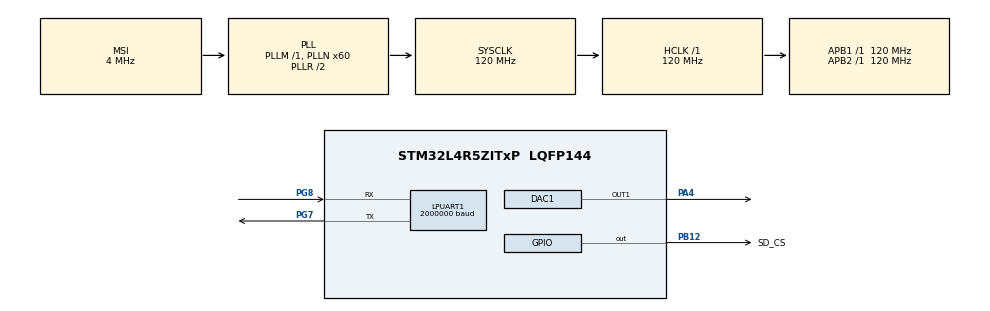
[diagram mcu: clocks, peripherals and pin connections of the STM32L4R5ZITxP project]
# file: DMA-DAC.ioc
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DAC1.DAC_Trigger-DAC_OUT1=DAC_TRIGGER_T2_TRGO
Dma.DAC1_CH1.1.Direction=DMA_MEMORY_TO_PERIPH
Dma.DAC1_CH1.1.EventEnable=DISABLE
Dma.DAC1_CH1.1.Instance=DMA1_Channel2
Dma.DAC1_CH1.1.MemDataAlignment=DMA_MDATAALIGN_BYTE
Dma.DAC1_CH1.1.MemInc=DMA_MINC_ENABLE
Dma.DAC1_CH1.1.Mode=DMA_CIRCULAR
Dma.DAC1_CH1.1.PeriphDataAlignment=DMA_PDATAALIGN_HALFWORD
Dma.DAC1_CH1.1.PeriphInc=DMA_PINC_DISABLE
Dma.DAC1_CH1.1.Polarity=HAL_DMAMUX_REQUEST_GEN_RISING
Dma.DAC1_CH1.1.Priority=DMA_PRIORITY_LOW
Dma.DAC1_CH1.1.RequestNumber=1
Dma.DAC1_CH1.1.SignalID=NONE
Dma.DAC1_CH1.1.SyncEnable=DISABLE
Dma.DAC1_CH1.1.SyncPolarity=HAL_DMAMUX_SYNC_NO_EVENT
Dma.DAC1_CH1.1.SyncRequestNumber=1
Dma.DAC1_CH1.1.SyncSignalID=NONE
Dma.LPUART1_RX.0.Direction=DMA_PERIPH_TO_MEMORY
Dma.LPUART1_RX.0.EventEnable=DISABLE
Dma.LPUART1_RX.0.Instance=DMA1_Channel1
Dma.LPUART1_RX.0.MemDataAlignment=DMA_MDATAALIGN_BYTE
Dma.LPUART1_RX.0.MemInc=DMA_MINC_ENABLE
Dma.LPUART1_RX.0.Mode=DMA_NORMAL
Dma.LPUART1_RX.0.PeriphDataAlignment=DMA_PDATAALIGN_BYTE
Dma.LPUART1_RX.0.PeriphInc=DMA_PINC_DISABLE
Dma.LPUART1_RX.0.Polarity=HAL_DMAMUX_REQUEST_GEN_RISING
Dma.LPUART1_RX.0.Priority=DMA_PRIORITY_LOW
Dma.LPUART1_RX.0.RequestNumber=1
Dma.LPUART1_RX.0.SignalID=NONE
Dma.LPUART1_RX.0.SyncEnable=DISABLE
Dma.LPUART1_RX.0.SyncPolarity=HAL_DMAMUX_SYNC_NO_EVENT
Dma.LPUART1_RX.0.SyncRequestNumber=1
Dma.LPUART1_RX.0.SyncSignalID=NONE
Dma.Request0=LPUART1_RX
Dma.Request1=DAC1_CH1
LPUART1.BaudRate=2000000
LPUART1.WordLength=UART_WORDLENGTH_8B
Mcu.Family=STM32L4
Mcu.Name=STM32L4R5ZITxP
Mcu.Package=LQFP144
NVIC.DMA1_Channel1_IRQn=true\:0\:0\:false\:false\:true\:false\:true\:true
NVIC.DMA1_Channel2_IRQn=true\:0\:0\:false\:false\:true\:false\:true\:true
NVIC.LPUART1_IRQn=true\:0\:0\:false\:false\:true\:true\:true\:true
NVIC.PriorityGroup=NVIC_PRIORITYGROUP_4
PA0.Signal=S_TIM2_CH1
PA1.Signal=ADCx_IN6
PA10.Signal=USB_OTG_FS_ID
PA13\ (JTMS/SWDIO).Signal=SYS_JTMS-SWDIO
PA14\ (JTCK/SWCLK).Signal=SYS_JTCK-SWCLK
PA3.Signal=ADCx_IN8
PA4.Signal=COMP_DAC11_group
PA5.Signal=SPI1_SCK
PA6.Signal=SPI1_MISO
PA7.Signal=SPI1_MOSI
PA8.Signal=USB_OTG_FS_SOF
PA9.Signal=USB_OTG_FS_VBUS
PB0.Signal=S_TIM3_CH3
PB1.Signal=ADCx_IN16
PB10.Signal=S_TIM2_CH3
PB12.GPIO_Label=SD_CS
PB12.Signal=GPIO_Output
PB13.Signal=SPI2_SCK
PB14.Signal=S_TIM15_CH1
PB15.Signal=SPI2_MOSI
PB2.Signal=COMP1_INP
PB3\ (JTDO/TRACESWO).Signal=SPI3_SCK
PB4\ (NJTRST).Signal=SPI3_MISO
PB5.Signal=SPI3_MOSI
PB6.Signal=COMP2_INP
PB8.Signal=I2C1_SCL
PB9.Signal=I2C1_SDA
PC0.Signal=ADCx_IN1
PC1.Signal=ADCx_IN2
PC10.Signal=SDMMC1_D2
PC11.Signal=SDMMC1_D3
PC12.Signal=SDMMC1_CK
PC13.Signal=SYS_WKUP2
PC14-OSC32_IN\ (PC14).Signal=RCC_OSC32_IN
PC15-OSC32_OUT\ (PC15).Signal=RCC_OSC32_OUT
PC2.Signal=SPI2_MISO
PC3.Signal=ADCx_IN4
PC4.Signal=ADCx_IN13
PC5.Signal=ADCx_IN14
PC6.Signal=SAI2_MCLK_A
PC7.Signal=S_TIM3_CH2
PC8.Signal=SDMMC1_D0
PC9.Signal=SDMMC1_D1
PD0.Signal=CAN1_RX
PD14.Signal=S_TIM4_CH3
PD15.Signal=S_TIM4_CH4
PD2.Signal=SDMMC1_CMD
PD3.Signal=USART2_CTS
PD4.Signal=USART2_RTS
PD5.Signal=USART2_TX
PD6.Signal=USART2_RX
PD8.Signal=USART3_TX
PD9.Signal=USART3_RX
PE0.Signal=S_TIM4_ETR
PE10.Signal=TIM1_CH2N
PE11.Signal=S_TIM1_CH2
PE12.Signal=TIM1_CH3N
PE13.Signal=S_TIM1_CH3
PE14.Signal=TIM1_BKIN2
PE15.Signal=TIM1_BKIN
PE2.Signal=SAI1_MCLK_A
PE3.Signal=SAI1_SD_B
PE7.Signal=S_TIM1_ETR
PE8.Signal=TIM1_CH1N
PE9.Signal=S_TIM1_CH1
PF0.Signal=I2C2_SDA
PF1.Signal=I2C2_SCL
PF2.Signal=I2C2_SMBA
PF7.Signal=SAI1_MCLK_B
PG7.Mode=Asynchronous
PG7.Signal=LPUART1_TX
PG8.Mode=Asynchronous
PG8.Signal=LPUART1_RX
PH0-OSC_IN\ (PH0).Mode=HSE-External-Oscillator
PH0-OSC_IN\ (PH0).Signal=RCC_OSC_IN
PH1-OSC_OUT\ (PH1).Mode=HSE-External-Oscillator
PH1-OSC_OUT\ (PH1).Signal=RCC_OSC_OUT
ProjectManager.HeapSize=0x200
ProjectManager.StackSize=0x400
ProjectManager.TargetToolchain=STM32CubeIDE
RCC.ADCFreq_Value=16000000
RCC.AHBFreq_Value=120000000
RCC.APB1Freq_Value=120000000
RCC.APB1TimFreq_Value=120000000
RCC.APB2Freq_Value=120000000
RCC.APB2TimFreq_Value=120000000
RCC.CortexFreq_Value=120000000
RCC.HCLKFreq_Value=120000000
RCC.HSE_VALUE=8000000
RCC.HSI48_VALUE=48000000
RCC.HSI_VALUE=16000000
RCC.LSE_VALUE=32768
RCC.MSI_VALUE=4000000
RCC.PLLN=60
RCC.SYSCLKFreq_VALUE=120000000
RCC.SYSCLKSource=RCC_SYSCLKSOURCE_PLLCLK
RCC.USBFreq_Value=16000000
RCC.VCOOutputFreq_Value=240000000
SH.ADCx_IN1.0=ADC1_IN1
SH.ADCx_IN13.0=ADC1_IN13
SH.ADCx_IN14.0=ADC1_IN14
SH.ADCx_IN16.0=ADC1_IN16
SH.ADCx_IN2.0=ADC1_IN2
SH.ADCx_IN4.0=ADC1_IN4
SH.ADCx_IN6.0=ADC1_IN6
SH.ADCx_IN8.0=ADC1_IN8
SH.COMP_DAC11_group.0=DAC1_OUT1,DAC_OUT1
SH.S_TIM15_CH1.0=TIM15_CH1
SH.S_TIM1_CH1.0=TIM1_CH1
SH.S_TIM1_CH2.0=TIM1_CH2
SH.S_TIM1_CH3.0=TIM1_CH3
SH.S_TIM1_ETR.0=TIM1_ETR
SH.S_TIM2_CH1.0=TIM2_CH1
SH.S_TIM2_CH3.0=TIM2_CH3
SH.S_TIM3_CH2.0=TIM3_CH2
SH.S_TIM3_CH3.0=TIM3_CH3
SH.S_TIM4_CH3.0=TIM4_CH3
SH.S_TIM4_CH4.0=TIM4_CH4
SH.S_TIM4_ETR.0=TIM4_ETR
TIM2.Period=7499
TIM2.TIM_MasterOutputTrigger=TIM_TRGO_UPDATE
VP_TIM2_VS_ClockSourceINT.Mode=Internal
board=NUCLEO-L4R5ZI-P

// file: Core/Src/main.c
/* USER CODE BEGIN Header */
/**
  ******************************************************************************
  * @file           : main.c
  * @brief          : Main program body
  ******************************************************************************
  * @attention
  *
  * Copyright (c) 2025 STMicroelectronics.
  * All rights reserved.
  *
  * This software is licensed under terms that can be found in the LICENSE file
  * in the root directory of this software component.
  * If no LICENSE file comes with this software, it is provided AS-IS.
  *
  ******************************************************************************
  */
/* USER CODE END Header */
#include "main.h"

/* USER CODE BEGIN Includes */
#include <stdio.h>
#include <string.h>
#include <stdarg.h> //for va_list var arg functions
/* USER CODE END Includes */

/* USER CODE BEGIN PD */
#define CHUNK_SIZE 512
/* USER CODE END PD */

DAC_HandleTypeDef hdac1;
DMA_HandleTypeDef hdma_dac1_ch1;

UART_HandleTypeDef hlpuart1;
DMA_HandleTypeDef hdma_lpuart1_rx;

TIM_HandleTypeDef htim2;

void SystemClock_Config(void);
static void MX_GPIO_Init(void);
static void MX_DMA_Init(void);
static void MX_LPUART1_UART_Init(void);
static void MX_DAC1_Init(void);
static void MX_TIM2_Init(void);

/* USER CODE BEGIN 0 */

uint8_t audio_received = 0; //flag to indicate when the first set buffer full of audio is recieved
uint8_t audio_buffer[CHUNK_SIZE * 2]; // double the size of the chunk size for ping pong buffer

void HAL_UART_RxCpltCallback(UART_HandleTypeDef *huart) {
	if(audio_received == 0) {
		HAL_DAC_Start_DMA(&hdac1, DAC_CHANNEL_1, audio_buffer, CHUNK_SIZE * 2, DAC_ALIGN_8B_R);
		HAL_TIM_Base_Start(&htim2);
	    HAL_UART_Receive_DMA(&hlpuart1, audio_buffer + CHUNK_SIZE, CHUNK_SIZE);
		audio_received = 1;
	}
}

void HAL_DAC_ConvCpltCallbackCh1(DAC_HandleTypeDef* hdac) {
	HAL_UART_Transmit(&hlpuart1, "S", 1, 1000);
    HAL_UART_Receive_DMA(&hlpuart1, audio_buffer + CHUNK_SIZE, CHUNK_SIZE);
}

void HAL_DAC_ConvHalfCpltCallbackCh1(DAC_HandleTypeDef* hdac) {
	HAL_UART_Transmit(&hlpuart1, "S", 1, 1000);
    HAL_UART_Receive_DMA(&hlpuart1, audio_buffer, CHUNK_SIZE);
}

/* USER CODE END 0 */

int main(void)
{

  /* MCU Configuration--------------------------------------------------------*/

  /* Reset of all peripherals, Initializes the Flash interface and the Systick. */
  HAL_Init();

  /* Configure the system clock */
  SystemClock_Config();

  /* Initialize all configured peripherals */
  MX_GPIO_Init();
  MX_DMA_Init();
  MX_LPUART1_UART_Init();
  MX_DAC1_Init();
  MX_TIM2_Init();
  /* USER CODE BEGIN 2 */

  // fill the entire buffer to start
  HAL_UART_Receive_DMA(&hlpuart1, audio_buffer, CHUNK_SIZE);

  /* USER CODE END 2 */

  /* Infinite loop */
  while (1)
  {

  }
}

void SystemClock_Config(void)
{
  RCC_OscInitTypeDef RCC_OscInitStruct = {0};
  RCC_ClkInitTypeDef RCC_ClkInitStruct = {0};

  /** Configure the main internal regulator output voltage
  */
  if (HAL_PWREx_ControlVoltageScaling(PWR_REGULATOR_VOLTAGE_SCALE1_BOOST) != HAL_OK)
  {
    Error_Handler();
  }

  /** Initializes the RCC Oscillators according to the specified parameters
  * in the RCC_OscInitTypeDef structure.
  */
  RCC_OscInitStruct.OscillatorType = RCC_OSCILLATORTYPE_MSI;
  RCC_OscInitStruct.MSIState = RCC_MSI_ON;
  RCC_OscInitStruct.MSICalibrationValue = 0;
  RCC_OscInitStruct.MSIClockRange = RCC_MSIRANGE_6;
  RCC_OscInitStruct.PLL.PLLState = RCC_PLL_ON;
  RCC_OscInitStruct.PLL.PLLSource = RCC_PLLSOURCE_MSI;
  RCC_OscInitStruct.PLL.PLLM = 1;
  RCC_OscInitStruct.PLL.PLLN = 60;
  RCC_OscInitStruct.PLL.PLLP = RCC_PLLP_DIV2;
  RCC_OscInitStruct.PLL.PLLQ = RCC_PLLQ_DIV2;
  RCC_OscInitStruct.PLL.PLLR = RCC_PLLR_DIV2;
  if (HAL_RCC_OscConfig(&RCC_OscInitStruct) != HAL_OK)
  {
    Error_Handler();
  }

  /** Initializes the CPU, AHB and APB buses clocks
  */
  RCC_ClkInitStruct.ClockType = RCC_CLOCKTYPE_HCLK|RCC_CLOCKTYPE_SYSCLK
                              |RCC_CLOCKTYPE_PCLK1|RCC_CLOCKTYPE_PCLK2;
  RCC_ClkInitStruct.SYSCLKSource = RCC_SYSCLKSOURCE_PLLCLK;
  RCC_ClkInitStruct.AHBCLKDivider = RCC_SYSCLK_DIV1;
  RCC_ClkInitStruct.APB1CLKDivider = RCC_HCLK_DIV1;
  RCC_ClkInitStruct.APB2CLKDivider = RCC_HCLK_DIV1;

  if (HAL_RCC_ClockConfig(&RCC_ClkInitStruct, FLASH_LATENCY_5) != HAL_OK)
  {
    Error_Handler();
  }
}

static void MX_DAC1_Init(void)
{

  DAC_ChannelConfTypeDef sConfig = {0};

  /** DAC Initialization
  */
  hdac1.Instance = DAC1;
  if (HAL_DAC_Init(&hdac1) != HAL_OK)
  {
    Error_Handler();
  }

  /** DAC channel OUT1 config
  */
  sConfig.DAC_SampleAndHold = DAC_SAMPLEANDHOLD_DISABLE;
  sConfig.DAC_Trigger = DAC_TRIGGER_T2_TRGO;
  sConfig.DAC_HighFrequency = DAC_HIGH_FREQUENCY_INTERFACE_MODE_ABOVE_80MHZ;
  sConfig.DAC_OutputBuffer = DAC_OUTPUTBUFFER_ENABLE;
  sConfig.DAC_ConnectOnChipPeripheral = DAC_CHIPCONNECT_DISABLE;
  sConfig.DAC_UserTrimming = DAC_TRIMMING_FACTORY;
  if (HAL_DAC_ConfigChannel(&hdac1, &sConfig, DAC_CHANNEL_1) != HAL_OK)
  {
    Error_Handler();
  }

}

static void MX_LPUART1_UART_Init(void)
{

  hlpuart1.Instance = LPUART1;
  hlpuart1.Init.BaudRate = 2000000;
  hlpuart1.Init.WordLength = UART_WORDLENGTH_8B;
  hlpuart1.Init.StopBits = UART_STOPBITS_1;
  hlpuart1.Init.Parity = UART_PARITY_NONE;
  hlpuart1.Init.Mode = UART_MODE_TX_RX;
  hlpuart1.Init.HwFlowCtl = UART_HWCONTROL_NONE;
  hlpuart1.Init.OneBitSampling = UART_ONE_BIT_SAMPLE_DISABLE;
  hlpuart1.Init.ClockPrescaler = UART_PRESCALER_DIV1;
  hlpuart1.AdvancedInit.AdvFeatureInit = UART_ADVFEATURE_NO_INIT;
  hlpuart1.FifoMode = UART_FIFOMODE_DISABLE;
  if (HAL_UART_Init(&hlpuart1) != HAL_OK)
  {
    Error_Handler();
  }
  if (HAL_UARTEx_SetTxFifoThreshold(&hlpuart1, UART_TXFIFO_THRESHOLD_1_8) != HAL_OK)
  {
    Error_Handler();
  }
  if (HAL_UARTEx_SetRxFifoThreshold(&hlpuart1, UART_RXFIFO_THRESHOLD_1_8) != HAL_OK)
  {
    Error_Handler();
  }
  if (HAL_UARTEx_DisableFifoMode(&hlpuart1) != HAL_OK)
  {
    Error_Handler();
  }

}

static void MX_TIM2_Init(void)
{

  TIM_ClockConfigTypeDef sClockSourceConfig = {0};
  TIM_MasterConfigTypeDef sMasterConfig = {0};

  htim2.Instance = TIM2;
  htim2.Init.Prescaler = 0;
  htim2.Init.CounterMode = TIM_COUNTERMODE_UP;
  htim2.Init.Period = 7499;
  htim2.Init.ClockDivision = TIM_CLOCKDIVISION_DIV1;
  htim2.Init.AutoReloadPreload = TIM_AUTORELOAD_PRELOAD_DISABLE;
  if (HAL_TIM_Base_Init(&htim2) != HAL_OK)
  {
    Error_Handler();
  }
  sClockSourceConfig.ClockSource = TIM_CLOCKSOURCE_INTERNAL;
  if (HAL_TIM_ConfigClockSource(&htim2, &sClockSourceConfig) != HAL_OK)
  {
    Error_Handler();
  }
  sMasterConfig.MasterOutputTrigger = TIM_TRGO_UPDATE;
  sMasterConfig.MasterSlaveMode = TIM_MASTERSLAVEMODE_DISABLE;
  if (HAL_TIMEx_MasterConfigSynchronization(&htim2, &sMasterConfig) != HAL_OK)
  {
    Error_Handler();
  }

}

static void MX_DMA_Init(void)
{

  /* DMA controller clock enable */
  __HAL_RCC_DMAMUX1_CLK_ENABLE();
  __HAL_RCC_DMA1_CLK_ENABLE();

  /* DMA interrupt init */
  /* DMA1_Channel1_IRQn interrupt configuration */
  HAL_NVIC_SetPriority(DMA1_Channel1_IRQn, 0, 0);
  HAL_NVIC_EnableIRQ(DMA1_Channel1_IRQn);
  /* DMA1_Channel2_IRQn interrupt configuration */
  HAL_NVIC_SetPriority(DMA1_Channel2_IRQn, 0, 0);
  HAL_NVIC_EnableIRQ(DMA1_Channel2_IRQn);

}

static void MX_GPIO_Init(void)
{
  GPIO_InitTypeDef GPIO_InitStruct = {0};

  /* GPIO Ports Clock Enable */
  __HAL_RCC_GPIOE_CLK_ENABLE();
  __HAL_RCC_GPIOC_CLK_ENABLE();
  __HAL_RCC_GPIOF_CLK_ENABLE();
  __HAL_RCC_GPIOH_CLK_ENABLE();
  __HAL_RCC_GPIOA_CLK_ENABLE();
  __HAL_RCC_GPIOB_CLK_ENABLE();
  __HAL_RCC_GPIOD_CLK_ENABLE();
  __HAL_RCC_GPIOG_CLK_ENABLE();
  HAL_PWREx_EnableVddIO2();

  /*Configure GPIO pin Output Level */
  HAL_GPIO_WritePin(SD_CS_GPIO_Port, SD_CS_Pin, GPIO_PIN_RESET);

  /*Configure GPIO pins : PE2 PE3 */
  GPIO_InitStruct.Pin = GPIO_PIN_2|GPIO_PIN_3;
  GPIO_InitStruct.Mode = GPIO_MODE_AF_PP;
  GPIO_InitStruct.Pull = GPIO_NOPULL;
  GPIO_InitStruct.Speed = GPIO_SPEED_FREQ_LOW;
  GPIO_InitStruct.Alternate = GPIO_AF13_SAI1;
  HAL_GPIO_Init(GPIOE, &GPIO_InitStruct);

  /*Configure GPIO pins : PF0 PF1 PF2 */
  GPIO_InitStruct.Pin = GPIO_PIN_0|GPIO_PIN_1|GPIO_PIN_2;
  GPIO_InitStruct.Mode = GPIO_MODE_AF_OD;
  GPIO_InitStruct.Pull = GPIO_NOPULL;
  GPIO_InitStruct.Speed = GPIO_SPEED_FREQ_VERY_HIGH;
  GPIO_InitStruct.Alternate = GPIO_AF4_I2C2;
  HAL_GPIO_Init(GPIOF, &GPIO_InitStruct);

  /*Configure GPIO pin : PF7 */
  GPIO_InitStruct.Pin = GPIO_PIN_7;
  GPIO_InitStruct.Mode = GPIO_MODE_AF_PP;
  GPIO_InitStruct.Pull = GPIO_NOPULL;
  GPIO_InitStruct.Speed = GPIO_SPEED_FREQ_LOW;
  GPIO_InitStruct.Alternate = GPIO_AF13_SAI1;
  HAL_GPIO_Init(GPIOF, &GPIO_InitStruct);

  /*Configure GPIO pins : PC0 PC1 PC3 PC4
                           PC5 */
  GPIO_InitStruct.Pin = GPIO_PIN_0|GPIO_PIN_1|GPIO_PIN_3|GPIO_PIN_4
                          |GPIO_PIN_5;
  GPIO_InitStruct.Mode = GPIO_MODE_ANALOG_ADC_CONTROL;
  GPIO_InitStruct.Pull = GPIO_NOPULL;
  HAL_GPIO_Init(GPIOC, &GPIO_InitStruct);

  /*Configure GPIO pin : PC2 */
  GPIO_InitStruct.Pin = GPIO_PIN_2;
  GPIO_InitStruct.Mode = GPIO_MODE_AF_PP;
  GPIO_InitStruct.Pull = GPIO_NOPULL;
  GPIO_InitStruct.Speed = GPIO_SPEED_FREQ_VERY_HIGH;
  GPIO_InitStruct.Alternate = GPIO_AF5_SPI2;
  HAL_GPIO_Init(GPIOC, &GPIO_InitStruct);

  /*Configure GPIO pins : PA1 PA3 */
  GPIO_InitStruct.Pin = GPIO_PIN_1|GPIO_PIN_3;
  GPIO_InitStruct.Mode = GPIO_MODE_ANALOG_ADC_CONTROL;
  GPIO_InitStruct.Pull = GPIO_NOPULL;
  HAL_GPIO_Init(GPIOA, &GPIO_InitStruct);

  /*Configure GPIO pins : PA5 PA6 PA7 */
  GPIO_InitStruct.Pin = GPIO_PIN_5|GPIO_PIN_6|GPIO_PIN_7;
  GPIO_InitStruct.Mode = GPIO_MODE_AF_PP;
  GPIO_InitStruct.Pull = GPIO_NOPULL;
  GPIO_InitStruct.Speed = GPIO_SPEED_FREQ_VERY_HIGH;
  GPIO_InitStruct.Alternate = GPIO_AF5_SPI1;
  HAL_GPIO_Init(GPIOA, &GPIO_InitStruct);

  /*Configure GPIO pin : PB0 */
  GPIO_InitStruct.Pin = GPIO_PIN_0;
  GPIO_InitStruct.Mode = GPIO_MODE_AF_PP;
  GPIO_InitStruct.Pull = GPIO_NOPULL;
  GPIO_InitStruct.Speed = GPIO_SPEED_FREQ_LOW;
  GPIO_InitStruct.Alternate = GPIO_AF2_TIM3;
  HAL_GPIO_Init(GPIOB, &GPIO_InitStruct);

  /*Configure GPIO pin : PB1 */
  GPIO_InitStruct.Pin = GPIO_PIN_1;
  GPIO_InitStruct.Mode = GPIO_MODE_ANALOG_ADC_CONTROL;
  GPIO_InitStruct.Pull = GPIO_NOPULL;
  HAL_GPIO_Init(GPIOB, &GPIO_InitStruct);

  /*Configure GPIO pins : PB2 PB6 */
  GPIO_InitStruct.Pin = GPIO_PIN_2|GPIO_PIN_6;
  GPIO_InitStruct.Mode = GPIO_MODE_ANALOG;
  GPIO_InitStruct.Pull = GPIO_NOPULL;
  HAL_GPIO_Init(GPIOB, &GPIO_InitStruct);

  /*Configure GPIO pins : PE7 PE8 PE9 PE10
                           PE11 PE12 PE13 */
  GPIO_InitStruct.Pin = GPIO_PIN_7|GPIO_PIN_8|GPIO_PIN_9|GPIO_PIN_10
                          |GPIO_PIN_11|GPIO_PIN_12|GPIO_PIN_13;
  GPIO_InitStruct.Mode = GPIO_MODE_AF_PP;
  GPIO_InitStruct.Pull = GPIO_NOPULL;
  GPIO_InitStruct.Speed = GPIO_SPEED_FREQ_LOW;
  GPIO_InitStruct.Alternate = GPIO_AF1_TIM1;
  HAL_GPIO_Init(GPIOE, &GPIO_InitStruct);

  /*Configure GPIO pins : PE14 PE15 */
  GPIO_InitStruct.Pin = GPIO_PIN_14|GPIO_PIN_15;
  GPIO_InitStruct.Mode = GPIO_MODE_AF_PP;
  GPIO_InitStruct.Pull = GPIO_NOPULL;
  GPIO_InitStruct.Speed = GPIO_SPEED_FREQ_LOW;
  GPIO_InitStruct.Alternate = GPIO_AF3_TIM1_COMP1;
  HAL_GPIO_Init(GPIOE, &GPIO_InitStruct);

  /*Configure GPIO pin : SD_CS_Pin */
  GPIO_InitStruct.Pin = SD_CS_Pin;
  GPIO_InitStruct.Mode = GPIO_MODE_OUTPUT_PP;
  GPIO_InitStruct.Pull = GPIO_NOPULL;
  GPIO_InitStruct.Speed = GPIO_SPEED_FREQ_LOW;
  HAL_GPIO_Init(SD_CS_GPIO_Port, &GPIO_InitStruct);

  /*Configure GPIO pins : PB13 PB15 */
  GPIO_InitStruct.Pin = GPIO_PIN_13|GPIO_PIN_15;
  GPIO_InitStruct.Mode = GPIO_MODE_AF_PP;
  GPIO_InitStruct.Pull = GPIO_NOPULL;
  GPIO_InitStruct.Speed = GPIO_SPEED_FREQ_VERY_HIGH;
  GPIO_InitStruct.Alternate = GPIO_AF5_SPI2;
  HAL_GPIO_Init(GPIOB, &GPIO_InitStruct);

  /*Configure GPIO pin : PB14 */
  GPIO_InitStruct.Pin = GPIO_PIN_14;
  GPIO_InitStruct.Mode = GPIO_MODE_AF_PP;
  GPIO_InitStruct.Pull = GPIO_NOPULL;
  GPIO_InitStruct.Speed = GPIO_SPEED_FREQ_LOW;
  GPIO_InitStruct.Alternate = GPIO_AF14_TIM15;
  HAL_GPIO_Init(GPIOB, &GPIO_InitStruct);

  /*Configure GPIO pins : PD8 PD9 */
  GPIO_InitStruct.Pin = GPIO_PIN_8|GPIO_PIN_9;
  GPIO_InitStruct.Mode = GPIO_MODE_AF_PP;
  GPIO_InitStruct.Pull = GPIO_NOPULL;
  GPIO_InitStruct.Speed = GPIO_SPEED_FREQ_VERY_HIGH;
  GPIO_InitStruct.Alternate = GPIO_AF7_USART3;
  HAL_GPIO_Init(GPIOD, &GPIO_InitStruct);

  /*Configure GPIO pins : PD14 PD15 */
  GPIO_InitStruct.Pin = GPIO_PIN_14|GPIO_PIN_15;
  GPIO_InitStruct.Mode = GPIO_MODE_AF_PP;
  GPIO_InitStruct.Pull = GPIO_NOPULL;
  GPIO_InitStruct.Speed = GPIO_SPEED_FREQ_LOW;
  GPIO_InitStruct.Alternate = GPIO_AF2_TIM4;
  HAL_GPIO_Init(GPIOD, &GPIO_InitStruct);

  /*Configure GPIO pin : PC6 */
  GPIO_InitStruct.Pin = GPIO_PIN_6;
  GPIO_InitStruct.Mode = GPIO_MODE_AF_PP;
  GPIO_InitStruct.Pull = GPIO_NOPULL;
  GPIO_InitStruct.Speed = GPIO_SPEED_FREQ_LOW;
  GPIO_InitStruct.Alternate = GPIO_AF13_SAI2;
  HAL_GPIO_Init(GPIOC, &GPIO_InitStruct);

  /*Configure GPIO pin : PC7 */
  GPIO_InitStruct.Pin = GPIO_PIN_7;
  GPIO_InitStruct.Mode = GPIO_MODE_AF_PP;
  GPIO_InitStruct.Pull = GPIO_NOPULL;
  GPIO_InitStruct.Speed = GPIO_SPEED_FREQ_LOW;
  GPIO_InitStruct.Alternate = GPIO_AF2_TIM3;
  HAL_GPIO_Init(GPIOC, &GPIO_InitStruct);

  /*Configure GPIO pins : PC8 PC9 PC10 PC11
                           PC12 */
  GPIO_InitStruct.Pin = GPIO_PIN_8|GPIO_PIN_9|GPIO_PIN_10|GPIO_PIN_11
                          |GPIO_PIN_12;
  GPIO_InitStruct.Mode = GPIO_MODE_AF_PP;
  GPIO_InitStruct.Pull = GPIO_NOPULL;
  GPIO_InitStruct.Speed = GPIO_SPEED_FREQ_VERY_HIGH;
  GPIO_InitStruct.Alternate = GPIO_AF12_SDMMC1;
  HAL_GPIO_Init(GPIOC, &GPIO_InitStruct);

  /*Configure GPIO pins : PA8 PA10 */
  GPIO_InitStruct.Pin = GPIO_PIN_8|GPIO_PIN_10;
  GPIO_InitStruct.Mode = GPIO_MODE_AF_PP;
  GPIO_InitStruct.Pull = GPIO_NOPULL;
  GPIO_InitStruct.Speed = GPIO_SPEED_FREQ_VERY_HIGH;
  GPIO_InitStruct.Alternate = GPIO_AF10_OTG_FS;
  HAL_GPIO_Init(GPIOA, &GPIO_InitStruct);

  /*Configure GPIO pin : PA9 */
  GPIO_InitStruct.Pin = GPIO_PIN_9;
  GPIO_InitStruct.Mode = GPIO_MODE_INPUT;
  GPIO_InitStruct.Pull = GPIO_NOPULL;
  HAL_GPIO_Init(GPIOA, &GPIO_InitStruct);

  /*Configure GPIO pin : PD0 */
  GPIO_InitStruct.Pin = GPIO_PIN_0;
  GPIO_InitStruct.Mode = GPIO_MODE_AF_PP;
  GPIO_InitStruct.Pull = GPIO_NOPULL;
  GPIO_InitStruct.Speed = GPIO_SPEED_FREQ_VERY_HIGH;
  GPIO_InitStruct.Alternate = GPIO_AF9_CAN1;
  HAL_GPIO_Init(GPIOD, &GPIO_InitStruct);

  /*Configure GPIO pin : PD2 */
  GPIO_InitStruct.Pin = GPIO_PIN_2;
  GPIO_InitStruct.Mode = GPIO_MODE_AF_PP;
  GPIO_InitStruct.Pull = GPIO_NOPULL;
  GPIO_InitStruct.Speed = GPIO_SPEED_FREQ_VERY_HIGH;
  GPIO_InitStruct.Alternate = GPIO_AF12_SDMMC1;
  HAL_GPIO_Init(GPIOD, &GPIO_InitStruct);

  /*Configure GPIO pins : PD3 PD4 PD5 PD6 */
  GPIO_InitStruct.Pin = GPIO_PIN_3|GPIO_PIN_4|GPIO_PIN_5|GPIO_PIN_6;
  GPIO_InitStruct.Mode = GPIO_MODE_AF_PP;
  GPIO_InitStruct.Pull = GPIO_NOPULL;
  GPIO_InitStruct.Speed = GPIO_SPEED_FREQ_VERY_HIGH;
  GPIO_InitStruct.Alternate = GPIO_AF7_USART2;
  HAL_GPIO_Init(GPIOD, &GPIO_InitStruct);

  /*Configure GPIO pins : PB3 PB4 PB5 */
  GPIO_InitStruct.Pin = GPIO_PIN_3|GPIO_PIN_4|GPIO_PIN_5;
  GPIO_InitStruct.Mode = GPIO_MODE_AF_PP;
  GPIO_InitStruct.Pull = GPIO_NOPULL;
  GPIO_InitStruct.Speed = GPIO_SPEED_FREQ_VERY_HIGH;
  GPIO_InitStruct.Alternate = GPIO_AF6_SPI3;
  HAL_GPIO_Init(GPIOB, &GPIO_InitStruct);

  /*Configure GPIO pins : PB8 PB9 */
  GPIO_InitStruct.Pin = GPIO_PIN_8|GPIO_PIN_9;
  GPIO_InitStruct.Mode = GPIO_MODE_AF_OD;
  GPIO_InitStruct.Pull = GPIO_NOPULL;
  GPIO_InitStruct.Speed = GPIO_SPEED_FREQ_VERY_HIGH;
  GPIO_InitStruct.Alternate = GPIO_AF4_I2C1;
  HAL_GPIO_Init(GPIOB, &GPIO_InitStruct);

  /*Configure GPIO pin : PE0 */
  GPIO_InitStruct.Pin = GPIO_PIN_0;
  GPIO_InitStruct.Mode = GPIO_MODE_AF_PP;
  GPIO_InitStruct.Pull = GPIO_NOPULL;
  GPIO_InitStruct.Speed = GPIO_SPEED_FREQ_LOW;
  GPIO_InitStruct.Alternate = GPIO_AF2_TIM4;
  HAL_GPIO_Init(GPIOE, &GPIO_InitStruct);

}

void Error_Handler(void)
{
  __disable_irq();
  while (1)
  {
  }
}
